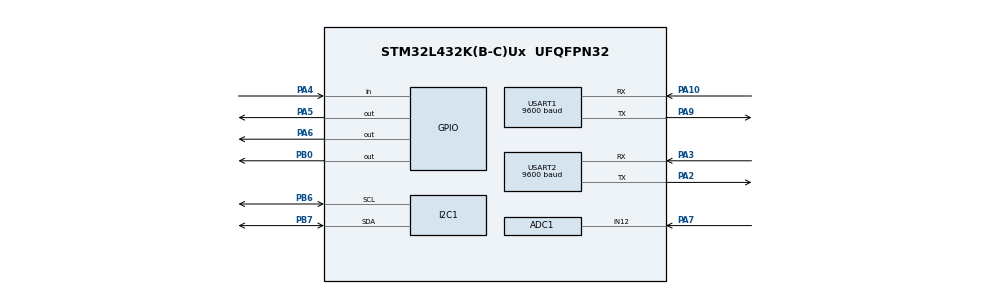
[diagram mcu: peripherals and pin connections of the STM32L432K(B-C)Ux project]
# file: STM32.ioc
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ADC1.Channel-1\#ChannelRegularConversion=ADC_CHANNEL_12
ADC1.NbrOfConversionFlag=1
ADC1.OffsetNumber-1\#ChannelRegularConversion=ADC_OFFSET_NONE
ADC1.Rank-1\#ChannelRegularConversion=1
ADC1.SamplingTime-1\#ChannelRegularConversion=ADC_SAMPLETIME_2CYCLES_5
ADC1.master=1
Mcu.Family=STM32L4
Mcu.Name=STM32L432K(B-C)Ux
Mcu.Package=UFQFPN32
NVIC.PriorityGroup=NVIC_PRIORITYGROUP_4
NVIC.TIM1_UP_TIM16_IRQn=true\:0\:0\:false\:false\:true\:false\:true
NVIC.TimeBase=TIM1_UP_TIM16_IRQn
NVIC.TimeBaseIP=TIM1
NVIC.USART1_IRQn=true\:0\:0\:false\:false\:true\:true\:true
NVIC.USART2_IRQn=true\:0\:0\:false\:false\:true\:true\:true
PA10.Mode=Asynchronous
PA10.Signal=USART1_RX
PA13\ (JTMS-SWDIO).Mode=Serial_Wire
PA13\ (JTMS-SWDIO).Signal=SYS_JTMS-SWDIO
PA14\ (JTCK-SWCLK).Mode=Serial_Wire
PA14\ (JTCK-SWCLK).Signal=SYS_JTCK-SWCLK
PA2.Mode=Asynchronous
PA2.Signal=USART2_TX
PA3.Mode=Asynchronous
PA3.Signal=USART2_RX
PA4.Signal=GPIO_Input
PA5.Signal=GPIO_Output
PA6.Signal=GPIO_Output
PA7.Signal=ADCx_IN12
PA9.Mode=Asynchronous
PA9.Signal=USART1_TX
PB0.Signal=GPIO_Output
PB6.Mode=I2C
PB6.Signal=I2C1_SCL
PB7.Mode=I2C
PB7.Signal=I2C1_SDA
PC14-OSC32_IN\ (PC14).Mode=LSE-External-Oscillator
PC14-OSC32_IN\ (PC14).Signal=RCC_OSC32_IN
PC15-OSC32_OUT\ (PC15).Mode=LSE-External-Oscillator
PC15-OSC32_OUT\ (PC15).Signal=RCC_OSC32_OUT
ProjectManager.HeapSize=0x200
ProjectManager.StackSize=0x400
ProjectManager.TargetToolchain=MDK-ARM V5
RCC.ADCFreq_Value=32000000
RCC.HSE_VALUE=8000000
RCC.HSI48_VALUE=48000000
RCC.HSI_VALUE=16000000
RCC.MSI_VALUE=4000000
RCC.PLLSAI1N=16
RCC.USBFreq_Value=32000000
RCC.VCOOutputFreq_Value=32000000
SH.ADCx_IN12.0=ADC1_IN12,IN12-Single-Ended
USART1.BaudRate=9600
USART1.VirtualMode-Asynchronous=VM_ASYNC
USART2.BaudRate=9600
USART2.VirtualMode-Asynchronous=VM_ASYNC
VP_SYS_VS_tim1.Mode=TIM1
VP_TIM2_VS_ClockSourceINT.Mode=Internal
board=custom

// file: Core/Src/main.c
/* USER CODE BEGIN Header */
/**
  ******************************************************************************
  * @file           : main.c
  * @brief          : Main program body
  ******************************************************************************
  * @attention
  *
  * <h2><center>&copy; Copyright (c) 2021 STMicroelectronics.
  * All rights reserved.</center></h2>
  *
  * This software component is licensed by ST under BSD 3-Clause license,
  * the "License"; You may not use this file except in compliance with the
  * License. You may obtain a copy of the License at:
  *                        opensource.org/licenses/BSD-3-Clause
  *
  ******************************************************************************
  */
/* USER CODE END Header */
#include "main.h"

/* USER CODE BEGIN Includes */

#include "Header.h"
#include <string.h>
#include <stdio.h>

/* USER CODE END Includes */

/* USER CODE BEGIN PD */
#define ADC_0V_VALUE                                             0
#define ADC_1V_VALUE                                             1241
#define ADC_2V_VALUE                                             2482
#define ADC_3V_VALUE                                             3723

#define usTIM TIM2
#define TRIG_GPIO_Port GPIOA
#define ECHO_GPIO_Port GPIOA
#define TRIG_Pin GPIO_PIN_6
#define ECHO_Pin GPIO_PIN_1
/* USER CODE END PD */

ADC_HandleTypeDef hadc1;

I2C_HandleTypeDef hi2c1;

TIM_HandleTypeDef htim2;

UART_HandleTypeDef huart1;
UART_HandleTypeDef huart2;

/* USER CODE BEGIN PV */

void usDelay(uint32_t uSec)
{
	if(uSec < 2) uSec = 2;
	usTIM->ARR = uSec - 1; 	/*sets the value in the auto-reload register*/
	usTIM->EGR = 1; 			/*Re-initialises the timer*/
	usTIM->SR &= ~1; 		//Resets the flag
	usTIM->CR1 |= 1; 		//Enables the counter
	while((usTIM->SR&0x0001) != 1);
	usTIM->SR &= ~(0x0001);
}

void TaskA_2(){
		volatile uint8_t numTicks = 0;
		HAL_GPIO_WritePin(TRIG_GPIO_Port, TRIG_Pin, 0);
		usDelay(3);

		HAL_GPIO_WritePin(TRIG_GPIO_Port, TRIG_Pin, 1);
			while(HAL_GPIO_ReadPin(ECHO_GPIO_Port, ECHO_Pin) == 1){
			 HAL_UART_Transmit(&huart2,"Loop  ", sizeof("Loop"), 100);
		};
		HAL_Delay(10);

		numTicks = 0;
		while(HAL_GPIO_ReadPin(ECHO_GPIO_Port, ECHO_Pin) == 1)
		{
			//HAL_UART_Transmit(&huart2,"Loop2  ", sizeof("Loop2"), 100);
			numTicks++;
			usDelay(2);
		};

		HAL_GPIO_WritePin(TRIG_GPIO_Port, TRIG_Pin, 0);

		while(HAL_GPIO_ReadPin(ECHO_GPIO_Port, ECHO_Pin) == 1){
			 HAL_UART_Transmit(&huart2,"Loop3  ", sizeof("Loop3"), 100);
		};
		uint8_t uartBuf[100];

		float var= 0.034/2;
		volatile float distance = (numTicks + 0.0f)*2.8*var;

		sprintf(uartBuf, "Distance (cm)  = %.1f\r\n", distance);
		HAL_UART_Transmit(&huart2, (uint8_t *)uartBuf, strlen(uartBuf), 100);
		if (distance < 1) distance = 0.1;
		HAL_GPIO_WritePin(GPIOA, GPIO_PIN_7,1);
		HAL_Delay(1000/(10*distance));
		HAL_GPIO_WritePin(GPIOA, GPIO_PIN_7,0);
		HAL_Delay(1000/(10*distance));

		ReRunMe(&TaskA_2, 1000, 0);
}

void TaskB_2(){
uint8_t buffer[10];
		if (HAL_GPIO_ReadPin(GPIOA, GPIO_PIN_4)){
			int temp = HAL_GPIO_ReadPin(GPIOA, GPIO_PIN_4);
			if (HAL_UART_Receive(&huart2, buffer, 4, 1000) > temp){
				HAL_GPIO_TogglePin (GPIOA, GPIO_PIN_5);
				HAL_Delay (1000);
			}
		}
		HAL_UART_Transmit(&huart1,"This is TaskB\r\n", 15, 1000);
		//printf("This is TaskB");
		ReRunMe(&TaskB_2, 100, 1);
}

uint8_t tick_50ms_elapsed = 0;

uint8_t temp_high = 0;
unsigned int temp_threshold = ADC_2V_VALUE;

void TaskA(){
	static uint8_t led_on = 0;
	if(temp_high){
		if(led_on){
			HAL_GPIO_WritePin(GPIOB,GPIO_PIN_0,0);
			led_on = 0;
		} else {
			HAL_GPIO_WritePin(GPIOB,GPIO_PIN_0,1);
			led_on = 1;
		}
	}
	ReRunMe(&TaskA, 1000, 1);
}

void TaskB(){
	HAL_ADC_Start(&hadc1);
	HAL_ADC_PollForConversion(&hadc1, 100);
	volatile uint32_t result = HAL_ADC_GetValue(&hadc1);
	if (result > temp_threshold)
	{
		temp_high = 1;
	} else {
		temp_high = 0;
		HAL_GPIO_WritePin(GPIOB,GPIO_PIN_0,0);

	}
	ReRunMe(&TaskB, 30000/50, 0);

}

DelayedQueue delayedQueue;
ReadyQueue readyQueue;

/* USER CODE END PV */

void SystemClock_Config(void);
static void MX_GPIO_Init(void);
static void MX_USART1_UART_Init(void);
static void MX_USART2_UART_Init(void);
static void MX_ADC1_Init(void);
static void MX_I2C1_Init(void);
static void MX_TIM2_Init(void);

int main(void)
{

  /* MCU Configuration--------------------------------------------------------*/

  /* Reset of all peripherals, Initializes the Flash interface and the Systick. */
  HAL_Init();

  /* Configure the system clock */
  SystemClock_Config();

  /* USER CODE BEGIN SysInit */

	if (SysTick_Config(500*SystemCoreClock / 1000000)) {
        while (1) {  }
  }

  /* USER CODE END SysInit */

  /* Initialize all configured peripherals */
  MX_GPIO_Init();
  MX_USART1_UART_Init();
  MX_USART2_UART_Init();
  MX_ADC1_Init();
  MX_I2C1_Init();
  MX_TIM2_Init();
  /* USER CODE BEGIN 2 */
	Init(); // initialize the scheduler data structures
	QueTask(&readyQueue, &TaskA, 1);
	QueTask(&readyQueue, &TaskB, 0);

	uint8_t uart_buffer[5] = {0,0,0,0,0};
	HAL_UART_Transmit(&huart1, "Enter temperature threshold (range: 0000 - 3723): ", strlen("Enter temperature threshold (range: 0000 - 3723): ")*sizeof(uint8_t), HAL_MAX_DELAY);
	HAL_UART_Receive(&huart1, uart_buffer, 4*sizeof(uint8_t), HAL_MAX_DELAY);
	uint8_t out_buffer[7];
	out_buffer[0] = uart_buffer[0];
	out_buffer[1] = uart_buffer[1];
	out_buffer[2] = uart_buffer[2];
	out_buffer[3] = uart_buffer[3];
	out_buffer[4] = '\r';
	out_buffer[5] = '\n';

	HAL_UART_Transmit(&huart1, out_buffer, 7*sizeof(uint8_t), HAL_MAX_DELAY);

	temp_threshold = atoi((uart_buffer));

  /* USER CODE END 2 */

  /* Infinite loop */
  while (1)
  {

    /* USER CODE BEGIN 3 */
		if (tick_50ms_elapsed) {
			DispatchDelayed(&delayedQueue,&readyQueue);
			tick_50ms_elapsed = 0;
    }

		Dispatch(&readyQueue);

  }
  /* USER CODE END 3 */
}

void SystemClock_Config(void)
{
  RCC_OscInitTypeDef RCC_OscInitStruct = {0};
  RCC_ClkInitTypeDef RCC_ClkInitStruct = {0};
  RCC_PeriphCLKInitTypeDef PeriphClkInit = {0};

  /** Configure LSE Drive Capability
  */
  HAL_PWR_EnableBkUpAccess();
  __HAL_RCC_LSEDRIVE_CONFIG(RCC_LSEDRIVE_LOW);
  /** Initializes the RCC Oscillators according to the specified parameters
  * in the RCC_OscInitTypeDef structure.
  */
  RCC_OscInitStruct.OscillatorType = RCC_OSCILLATORTYPE_LSE|RCC_OSCILLATORTYPE_MSI;
  RCC_OscInitStruct.LSEState = RCC_LSE_ON;
  RCC_OscInitStruct.MSIState = RCC_MSI_ON;
  RCC_OscInitStruct.MSICalibrationValue = 0;
  RCC_OscInitStruct.MSIClockRange = RCC_MSIRANGE_6;
  RCC_OscInitStruct.PLL.PLLState = RCC_PLL_NONE;
  if (HAL_RCC_OscConfig(&RCC_OscInitStruct) != HAL_OK)
  {
    Error_Handler();
  }
  /** Initializes the CPU, AHB and APB buses clocks
  */
  RCC_ClkInitStruct.ClockType = RCC_CLOCKTYPE_HCLK|RCC_CLOCKTYPE_SYSCLK
                              |RCC_CLOCKTYPE_PCLK1|RCC_CLOCKTYPE_PCLK2;
  RCC_ClkInitStruct.SYSCLKSource = RCC_SYSCLKSOURCE_MSI;
  RCC_ClkInitStruct.AHBCLKDivider = RCC_SYSCLK_DIV1;
  RCC_ClkInitStruct.APB1CLKDivider = RCC_HCLK_DIV1;
  RCC_ClkInitStruct.APB2CLKDivider = RCC_HCLK_DIV1;

  if (HAL_RCC_ClockConfig(&RCC_ClkInitStruct, FLASH_LATENCY_0) != HAL_OK)
  {
    Error_Handler();
  }
  PeriphClkInit.PeriphClockSelection = RCC_PERIPHCLK_USART1|RCC_PERIPHCLK_USART2
                              |RCC_PERIPHCLK_I2C1|RCC_PERIPHCLK_ADC;
  PeriphClkInit.Usart1ClockSelection = RCC_USART1CLKSOURCE_PCLK2;
  PeriphClkInit.Usart2ClockSelection = RCC_USART2CLKSOURCE_PCLK1;
  PeriphClkInit.I2c1ClockSelection = RCC_I2C1CLKSOURCE_PCLK1;
  PeriphClkInit.AdcClockSelection = RCC_ADCCLKSOURCE_PLLSAI1;
  PeriphClkInit.PLLSAI1.PLLSAI1Source = RCC_PLLSOURCE_MSI;
  PeriphClkInit.PLLSAI1.PLLSAI1M = 1;
  PeriphClkInit.PLLSAI1.PLLSAI1N = 16;
  PeriphClkInit.PLLSAI1.PLLSAI1P = RCC_PLLP_DIV7;
  PeriphClkInit.PLLSAI1.PLLSAI1Q = RCC_PLLQ_DIV2;
  PeriphClkInit.PLLSAI1.PLLSAI1R = RCC_PLLR_DIV2;
  PeriphClkInit.PLLSAI1.PLLSAI1ClockOut = RCC_PLLSAI1_ADC1CLK;
  if (HAL_RCCEx_PeriphCLKConfig(&PeriphClkInit) != HAL_OK)
  {
    Error_Handler();
  }
  /** Configure the main internal regulator output voltage
  */
  if (HAL_PWREx_ControlVoltageScaling(PWR_REGULATOR_VOLTAGE_SCALE1) != HAL_OK)
  {
    Error_Handler();
  }
  /** Enable MSI Auto calibration
  */
  HAL_RCCEx_EnableMSIPLLMode();
}

static void MX_ADC1_Init(void)
{

  ADC_ChannelConfTypeDef sConfig = {0};

  /** Common config
  */
  hadc1.Instance = ADC1;
  hadc1.Init.ClockPrescaler = ADC_CLOCK_ASYNC_DIV1;
  hadc1.Init.Resolution = ADC_RESOLUTION_12B;
  hadc1.Init.DataAlign = ADC_DATAALIGN_RIGHT;
  hadc1.Init.ScanConvMode = ADC_SCAN_DISABLE;
  hadc1.Init.EOCSelection = ADC_EOC_SINGLE_CONV;
  hadc1.Init.LowPowerAutoWait = DISABLE;
  hadc1.Init.ContinuousConvMode = DISABLE;
  hadc1.Init.NbrOfConversion = 1;
  hadc1.Init.DiscontinuousConvMode = DISABLE;
  hadc1.Init.ExternalTrigConv = ADC_SOFTWARE_START;
  hadc1.Init.ExternalTrigConvEdge = ADC_EXTERNALTRIGCONVEDGE_NONE;
  hadc1.Init.DMAContinuousRequests = DISABLE;
  hadc1.Init.Overrun = ADC_OVR_DATA_PRESERVED;
  hadc1.Init.OversamplingMode = DISABLE;
  if (HAL_ADC_Init(&hadc1) != HAL_OK)
  {
    Error_Handler();
  }
  /** Configure Regular Channel
  */
  sConfig.Channel = ADC_CHANNEL_12;
  sConfig.Rank = ADC_REGULAR_RANK_1;
  sConfig.SamplingTime = ADC_SAMPLETIME_2CYCLES_5;
  sConfig.SingleDiff = ADC_SINGLE_ENDED;
  sConfig.OffsetNumber = ADC_OFFSET_NONE;
  sConfig.Offset = 0;
  if (HAL_ADC_ConfigChannel(&hadc1, &sConfig) != HAL_OK)
  {
    Error_Handler();
  }

}

static void MX_I2C1_Init(void)
{

  hi2c1.Instance = I2C1;
  hi2c1.Init.Timing = 0x00000E14;
  hi2c1.Init.OwnAddress1 = 0;
  hi2c1.Init.AddressingMode = I2C_ADDRESSINGMODE_7BIT;
  hi2c1.Init.DualAddressMode = I2C_DUALADDRESS_DISABLE;
  hi2c1.Init.OwnAddress2 = 0;
  hi2c1.Init.OwnAddress2Masks = I2C_OA2_NOMASK;
  hi2c1.Init.GeneralCallMode = I2C_GENERALCALL_DISABLE;
  hi2c1.Init.NoStretchMode = I2C_NOSTRETCH_DISABLE;
  if (HAL_I2C_Init(&hi2c1) != HAL_OK)
  {
    Error_Handler();
  }
  /** Configure Analogue filter
  */
  if (HAL_I2CEx_ConfigAnalogFilter(&hi2c1, I2C_ANALOGFILTER_ENABLE) != HAL_OK)
  {
    Error_Handler();
  }
  /** Configure Digital filter
  */
  if (HAL_I2CEx_ConfigDigitalFilter(&hi2c1, 0) != HAL_OK)
  {
    Error_Handler();
  }

}

static void MX_TIM2_Init(void)
{

  TIM_ClockConfigTypeDef sClockSourceConfig = {0};
  TIM_MasterConfigTypeDef sMasterConfig = {0};

  htim2.Instance = TIM2;
  htim2.Init.Prescaler = 0;
  htim2.Init.CounterMode = TIM_COUNTERMODE_UP;
  htim2.Init.Period = 4294967295;
  htim2.Init.ClockDivision = TIM_CLOCKDIVISION_DIV1;
  htim2.Init.AutoReloadPreload = TIM_AUTORELOAD_PRELOAD_DISABLE;
  if (HAL_TIM_Base_Init(&htim2) != HAL_OK)
  {
    Error_Handler();
  }
  sClockSourceConfig.ClockSource = TIM_CLOCKSOURCE_INTERNAL;
  if (HAL_TIM_ConfigClockSource(&htim2, &sClockSourceConfig) != HAL_OK)
  {
    Error_Handler();
  }
  sMasterConfig.MasterOutputTrigger = TIM_TRGO_RESET;
  sMasterConfig.MasterSlaveMode = TIM_MASTERSLAVEMODE_DISABLE;
  if (HAL_TIMEx_MasterConfigSynchronization(&htim2, &sMasterConfig) != HAL_OK)
  {
    Error_Handler();
  }

}

static void MX_USART1_UART_Init(void)
{

  huart1.Instance = USART1;
  huart1.Init.BaudRate = 9600;
  huart1.Init.WordLength = UART_WORDLENGTH_8B;
  huart1.Init.StopBits = UART_STOPBITS_1;
  huart1.Init.Parity = UART_PARITY_NONE;
  huart1.Init.Mode = UART_MODE_TX_RX;
  huart1.Init.HwFlowCtl = UART_HWCONTROL_NONE;
  huart1.Init.OverSampling = UART_OVERSAMPLING_16;
  huart1.Init.OneBitSampling = UART_ONE_BIT_SAMPLE_DISABLE;
  huart1.AdvancedInit.AdvFeatureInit = UART_ADVFEATURE_NO_INIT;
  if (HAL_UART_Init(&huart1) != HAL_OK)
  {
    Error_Handler();
  }

}

static void MX_USART2_UART_Init(void)
{

  huart2.Instance = USART2;
  huart2.Init.BaudRate = 9600;
  huart2.Init.WordLength = UART_WORDLENGTH_8B;
  huart2.Init.StopBits = UART_STOPBITS_1;
  huart2.Init.Parity = UART_PARITY_NONE;
  huart2.Init.Mode = UART_MODE_TX_RX;
  huart2.Init.HwFlowCtl = UART_HWCONTROL_NONE;
  huart2.Init.OverSampling = UART_OVERSAMPLING_16;
  huart2.Init.OneBitSampling = UART_ONE_BIT_SAMPLE_DISABLE;
  huart2.AdvancedInit.AdvFeatureInit = UART_ADVFEATURE_NO_INIT;
  if (HAL_UART_Init(&huart2) != HAL_OK)
  {
    Error_Handler();
  }

}

static void MX_GPIO_Init(void)
{
  GPIO_InitTypeDef GPIO_InitStruct = {0};

  /* GPIO Ports Clock Enable */
  __HAL_RCC_GPIOC_CLK_ENABLE();
  __HAL_RCC_GPIOA_CLK_ENABLE();
  __HAL_RCC_GPIOB_CLK_ENABLE();

  /*Configure GPIO pin Output Level */
  HAL_GPIO_WritePin(GPIOA, GPIO_PIN_5|GPIO_PIN_6, GPIO_PIN_RESET);

  /*Configure GPIO pin Output Level */
  HAL_GPIO_WritePin(GPIOB, GPIO_PIN_0, GPIO_PIN_RESET);

  /*Configure GPIO pin : PA4 */
  GPIO_InitStruct.Pin = GPIO_PIN_4;
  GPIO_InitStruct.Mode = GPIO_MODE_INPUT;
  GPIO_InitStruct.Pull = GPIO_NOPULL;
  HAL_GPIO_Init(GPIOA, &GPIO_InitStruct);

  /*Configure GPIO pins : PA5 PA6 */
  GPIO_InitStruct.Pin = GPIO_PIN_5|GPIO_PIN_6;
  GPIO_InitStruct.Mode = GPIO_MODE_OUTPUT_PP;
  GPIO_InitStruct.Pull = GPIO_NOPULL;
  GPIO_InitStruct.Speed = GPIO_SPEED_FREQ_LOW;
  HAL_GPIO_Init(GPIOA, &GPIO_InitStruct);

  /*Configure GPIO pin : PB0 */
  GPIO_InitStruct.Pin = GPIO_PIN_0;
  GPIO_InitStruct.Mode = GPIO_MODE_OUTPUT_PP;
  GPIO_InitStruct.Pull = GPIO_NOPULL;
  GPIO_InitStruct.Speed = GPIO_SPEED_FREQ_LOW;
  HAL_GPIO_Init(GPIOB, &GPIO_InitStruct);

}

 /**
  * @brief  Period elapsed callback in non blocking mode
  * @note   This function is called  when TIM1 interrupt took place, inside
  * HAL_TIM_IRQHandler(). It makes a direct call to HAL_IncTick() to increment
  * a global variable "uwTick" used as application time base.
  * @param  htim : TIM handle
  * @retval None
  */
void HAL_TIM_PeriodElapsedCallback(TIM_HandleTypeDef *htim)
{
  if (htim->Instance == TIM1) {
    HAL_IncTick();
  }
}

void Error_Handler(void)
{
  __disable_irq();
  while (1)
  {
  }
}

/************************ (C) COPYRIGHT STMicroelectronics *****END OF FILE****/
